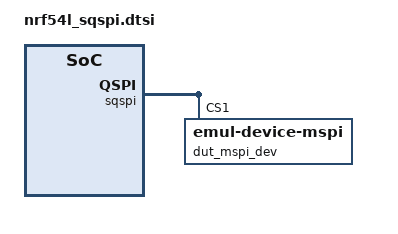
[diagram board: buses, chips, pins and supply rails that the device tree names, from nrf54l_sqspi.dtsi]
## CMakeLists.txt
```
#
# Copyright (c) 2026 Nordic Semiconductor ASA
#
# SPDX-License-Identifier: LicenseRef-Nordic-5-Clause
#

cmake_minimum_required(VERSION 3.20.0)

find_package(Zephyr REQUIRED HINTS $ENV{ZEPHYR_BASE})
project(xspi_performance_mspi_api)

target_sources(app PRIVATE src/main.c)
```

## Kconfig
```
#
# Copyright (c) 2026 Nordic Semiconductor ASA
#
# SPDX-License-Identifier: LicenseRef-Nordic-5-Clause
#

config TEST_BENCHMARK_SCK_DELAY
	bool "Measure SCK delay"
	default y
	select NRFX_GPPI
	select NRFX_GPIOTE
	help
	  Enables tests which measure the delay between triggering the transfer and
	  detecting clock signal on the SCK line. This requires a physical loopback
	  between the MSPI SCK pin and a GPIO input pin used by the tests.

source "Kconfig.zephyr"
```

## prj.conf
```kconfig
CONFIG_ZTEST=y
CONFIG_MSPI=y
# The SCK delay measurement drives its GPIO input directly through nrfx_gpiote,
# bypassing the Zephyr GPIO subsystem, so it is not needed here.
CONFIG_GPIO=n
CONFIG_CPU_LOAD=y
CONFIG_NRFX_TIMER=y
```

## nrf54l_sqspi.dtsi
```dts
/*
 * Copyright (c) 2026 Nordic Semiconductor ASA
 *
 * SPDX-License-Identifier: LicenseRef-Nordic-5-Clause
 */

&pinctrl {
	sqspi_default: sqspi_default {
		group1 {
			psels = <NRF_PSEL(SDP_MSPI_SCK, 2, 1)>,
				<NRF_PSEL(SDP_MSPI_CS0, 2, 5)>,
				<NRF_PSEL(SDP_MSPI_CS1, 2, 6)>,
				<NRF_PSEL(SDP_MSPI_DQ0, 2, 2)>;
			nordic,drive-mode = <NRF_DRIVE_E0E1>;
		};

		group2 {
			psels = <NRF_PSEL(SDP_MSPI_DQ1, 2, 4)>,
				<NRF_PSEL(SDP_MSPI_DQ2, 2, 3)>,
				<NRF_PSEL(SDP_MSPI_DQ3, 2, 0)>;
			nordic,drive-mode = <NRF_DRIVE_E0E1>;
			bias-pull-up;
		};
	};

	sqspi_sleep: sqspi_sleep {
		group1 {
			low-power-enable;
			psels = <NRF_PSEL(SDP_MSPI_SCK, 2, 1)>,
				<NRF_PSEL(SDP_MSPI_CS0, 2, 5)>,
				<NRF_PSEL(SDP_MSPI_CS1, 2, 6)>,
				<NRF_PSEL(SDP_MSPI_DQ0, 2, 2)>,
				<NRF_PSEL(SDP_MSPI_DQ1, 2, 4)>,
				<NRF_PSEL(SDP_MSPI_DQ2, 2, 3)>,
				<NRF_PSEL(SDP_MSPI_DQ3, 2, 0)>;
		};
	};
};

&cpuflpr_vpr {
	pinctrl-0 = <&sqspi_default>;
	pinctrl-1 = <&sqspi_sleep>;
	pinctrl-names = "default", "sleep";
	interrupts = <76 NRF_DEFAULT_IRQ_PRIORITY>;
	status = "okay";
};

/ {
	reserved-memory {
		#address-cells = <1>;
		#size-cells = <1>;
		ranges;

		softperipheral_ram: memory@SP_RAM_UNIT_ADDR {
			reg = <SP_RAM_REG_ADDR 0x4000>;
			ranges = <0 SP_RAM_REG_ADDR 0x4000>;
			#address-cells = <1>;
			#size-cells = <1>;

			sqspi: sqspi@3b40 {
				compatible = "nordic,nrf-sqspi";
				#address-cells = <1>;
				#size-cells = <0>;
				reg = <0x3b40 0x200>;
				status = "okay";
				zephyr,pm-device-runtime-auto;
			};
		};
	};
};

/delete-node/ &mx25r64;

&sqspi {
	dut_mspi_dev: emul_device@1 {
		compatible = "zephyr,emul-device-mspi";
		status = "okay";
		reg = <1>;

		mspi-max-frequency = <DT_FREQ_M(4)>;
		mspi-io-mode = "MSPI_IO_MODE_QUAD_1_4_4";
		mspi-data-rate = "MSPI_DATA_RATE_SINGLE";
		mspi-hardware-ce-num = <1>;
		mspi-cpp-mode = "MSPI_CPP_MODE_0";
		mspi-endian = "MSPI_BIG_ENDIAN";
		mspi-ce-polarity = "MSPI_CE_ACTIVE_LOW";
	};
};
```

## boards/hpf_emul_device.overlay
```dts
/*
 * Copyright (c) 2026 Nordic Semiconductor ASA
 *
 * SPDX-License-Identifier: LicenseRef-Nordic-5-Clause
 */

/delete-node/ &mx25r64;

&hpf_mspi {
	dut_mspi_dev: emul_device@0 {
		compatible = "zephyr,emul-device-mspi";
		status = "okay";
		reg = <0>;

		mspi-max-frequency = <DT_FREQ_M(4)>;
		mspi-io-mode = "MSPI_IO_MODE_QUAD_1_4_4";
		mspi-data-rate = "MSPI_DATA_RATE_SINGLE";
		mspi-hardware-ce-num = <0>;
		mspi-cpp-mode = "MSPI_CPP_MODE_0";
		mspi-endian = "MSPI_BIG_ENDIAN";
		mspi-ce-polarity = "MSPI_CE_ACTIVE_LOW";
	};
};
```

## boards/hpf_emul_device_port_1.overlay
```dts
/*
 * Copyright (c) 2026 Nordic Semiconductor ASA
 *
 * SPDX-License-Identifier: LicenseRef-Nordic-5-Clause
 */

&hpf_mspi {
	dut_mspi_dev: emul_device@0 {
		compatible = "zephyr,emul-device-mspi";
		status = "okay";
		reg = <0>;

		mspi-max-frequency = <DT_FREQ_M(4)>;
		mspi-io-mode = "MSPI_IO_MODE_QUAD_1_4_4";
		mspi-data-rate = "MSPI_DATA_RATE_SINGLE";
		mspi-hardware-ce-num = <0>;
		mspi-cpp-mode = "MSPI_CPP_MODE_0";
		mspi-endian = "MSPI_BIG_ENDIAN";
		mspi-ce-polarity = "MSPI_CE_ACTIVE_LOW";
	};
};
```

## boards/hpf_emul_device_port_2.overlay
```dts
/*
 * Copyright (c) 2026 Nordic Semiconductor ASA
 *
 * SPDX-License-Identifier: LicenseRef-Nordic-5-Clause
 */

/delete-node/ &mx25r64;

&hpf_mspi {
	dut_mspi_dev: emul_device@1 {
		compatible = "zephyr,emul-device-mspi";
		status = "okay";
		reg = <1>;

		mspi-max-frequency = <DT_FREQ_M(4)>;
		mspi-io-mode = "MSPI_IO_MODE_QUAD_1_4_4";
		mspi-data-rate = "MSPI_DATA_RATE_SINGLE";
		mspi-hardware-ce-num = <1>;
		mspi-cpp-mode = "MSPI_CPP_MODE_0";
		mspi-endian = "MSPI_BIG_ENDIAN";
		mspi-ce-polarity = "MSPI_CE_ACTIVE_LOW";
	};
};

&pinctrl {
	hpf_mspi_default: hpf_mspi_default {
		group1 {
			psels = <NRF_PSEL(HPF_MSPI_SCK, 2, 1)>,
				<NRF_PSEL(HPF_MSPI_DQ0, 2, 2)>,
				<NRF_PSEL(HPF_MSPI_DQ1, 2, 4)>,
				<NRF_PSEL(HPF_MSPI_DQ2, 2, 3)>,
				<NRF_PSEL(HPF_MSPI_DQ3, 2, 0)>,
				<NRF_PSEL(HPF_MSPI_CS0, 2, 5)>,
				<NRF_PSEL(HPF_MSPI_CS1, 2, 6)>;
			nordic,drive-mode = <NRF_DRIVE_S0S1>;
			bias-pull-up;
		};
	};

	hpf_mspi_sleep: hpf_mspi_sleep {
		group1 {
			psels = <NRF_PSEL(HPF_MSPI_SCK, 2, 1)>,
				<NRF_PSEL(HPF_MSPI_DQ0, 2, 2)>,
				<NRF_PSEL(HPF_MSPI_DQ1, 2, 4)>,
				<NRF_PSEL(HPF_MSPI_DQ2, 2, 3)>,
				<NRF_PSEL(HPF_MSPI_DQ3, 2, 0)>,
				<NRF_PSEL(HPF_MSPI_CS0, 2, 5)>,
				<NRF_PSEL(HPF_MSPI_CS1, 2, 6)>;
			low-power-enable;
		};
	};
};

&hpf_mspi {
	pinctrl-0 = <&hpf_mspi_default>;
	pinctrl-1 = <&hpf_mspi_sleep>;
};
```

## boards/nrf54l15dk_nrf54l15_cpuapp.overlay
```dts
/*
 * Copyright (c) 2026 Nordic Semiconductor ASA
 *
 * SPDX-License-Identifier: LicenseRef-Nordic-5-Clause
 */

/* The test requires a loopback between P1.12 and P2.01. Additionally SB18 needs to be shorted. */

/ {
	zephyr,user {
		test-gpios = <&gpio1 12 0>;
	};

	aliases {
		test-timer = &timer21;
	};
};

&timer21 {
	status = "reserved";
};
```

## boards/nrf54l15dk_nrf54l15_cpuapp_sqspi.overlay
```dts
/*
 * Copyright (c) 2026 Nordic Semiconductor ASA
 *
 * SPDX-License-Identifier: LicenseRef-Nordic-5-Clause
 */

#define SP_RAM_REG_ADDR 0x2003c000
#define SP_RAM_UNIT_ADDR 2003c000

#include "../nrf54l_sqspi.dtsi"

/* The test requires a loopback between P1.12 and P2.01. Additionally SB18 needs to be shorted. */

/ {
	zephyr,user {
		test-gpios = <&gpio1 12 0>;
	};

	aliases {
		test-timer = &timer21;
	};
};

&timer21 {
	status = "reserved";
};
```

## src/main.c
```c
/*
 * Copyright (c) 2026 Nordic Semiconductor ASA
 *
 * SPDX-License-Identifier: LicenseRef-Nordic-5-Clause
 */

#include <zephyr/kernel.h>
#include <zephyr/device.h>
#include <zephyr/drivers/mspi.h>
#include <zephyr/ztest.h>
#include <zephyr/sys/cpu_load.h>
#include <zephyr/irq.h>
#include <nrfx_timer.h>

#if IS_ENABLED(CONFIG_TEST_BENCHMARK_SCK_DELAY)
#include <helpers/nrfx_gppi.h>
#include <gpiote_nrfx.h>
#include <nrfx_gpiote.h>
#endif

#define MSPI_DEV_NODE DT_NODELABEL(dut_mspi_dev)
#define MSPI_BUS_NODE DT_BUS(MSPI_DEV_NODE)

#define MSPI_FREQ_HZ DT_PROP(MSPI_DEV_NODE, mspi_max_frequency)

static struct mspi_dev_cfg mspi_device_cfg = MSPI_DEVICE_CONFIG_DT(MSPI_DEV_NODE);
static const struct mspi_dev_id mspi_device_id = MSPI_DEVICE_ID_DT(MSPI_DEV_NODE);

static const struct device *mspi_bus = DEVICE_DT_GET(MSPI_BUS_NODE);

#define TEST_TIMER_NODE DT_ALIAS(test_timer)
#define TEST_TIMER_FREQUENCY MHZ(16)

#define TEST_MAX_PACKET_COUNT 5
#define TEST_MAX_PACKET_SIZE 1024
#define TEST_MEASUREMENT_COUNT 10
#define TEST_XFER_DELAY_MS 10
#define TEST_XFER_TIMEOUT_MS 100

/* Max accepted SCK delay value used in the test (microseconds). */
#define TEST_ALLOWED_SCK_DELAY_US 100U

/*
 * Factor used to calculate the maximum duration of an MSPI transfer
 * based on the time required to physically transmit the data on the bus.
 *
 * This isn't an ideal method - relative overhead is much greater in short transfers.
 */
#define TEST_ALLOWED_XFER_TIME_FACTOR 6

static nrfx_timer_t timer = NRFX_TIMER_INSTANCE(DT_REG_ADDR(TEST_TIMER_NODE));

#if IS_ENABLED(CONFIG_TEST_BENCHMARK_SCK_DELAY)
#define TEST_GPIO_PIN NRF_DT_GPIOS_TO_PSEL(DT_PATH(zephyr_user), test_gpios)
#define TEST_GPIOTE_INST NRF_DT_GPIOTE_INST(DT_PATH(zephyr_user), test_gpios)
#define TEST_GPIOTE_NODE DT_NODELABEL(CONCAT(gpiote, TEST_GPIOTE_INST))

static nrfx_gpiote_t *gpiote = &GPIOTE_NRFX_INST_BY_NODE(TEST_GPIOTE_NODE);
#endif

static const int test_packet_sizes[] = { 64, 256, 1024 };

static uint8_t data_buf[TEST_MAX_PACKET_SIZE * TEST_MAX_PACKET_COUNT];
static struct mspi_xfer_packet packets[TEST_MAX_PACKET_COUNT];

/*
 * Set the direction and size on every packet in the shared "packets" array and
 * fill the shared data buffer with a fixed pattern. The remaining packet
 * fields (cmd, address, cb_mask, data_buf) are configured once in setup() and
 * are left untouched here, since they are the same for every test case.
 */
static void prepare_packets(enum mspi_xfer_direction dir, uint32_t packet_size)
{
	zassert_true((packet_size > 0) && (packet_size <= TEST_MAX_PACKET_SIZE),
		     "Invalid packet size: %u", packet_size);

	for (size_t i = 0; i < ARRAY_SIZE(packets); i++) {
		packets[i].dir = dir;
		packets[i].num_bytes = packet_size;
	}

	/* Fill the buffer with dummy data for TX transfer. */
	if (dir == MSPI_TX) {
		for (size_t i = 0; i < ARRAY_SIZE(data_buf); i++) {
			data_buf[i] = (uint8_t)i;
		}
	}
}

static void *setup(void)
{
	int ret;

	/* Configure MSPI */
	zassert_true(device_is_ready(mspi_bus), "MSPI bus is not ready");

	ret = mspi_dev_config(mspi_bus, &mspi_device_id, MSPI_DEVICE_CONFIG_ALL, &mspi_device_cfg);
	zassert_equal(ret, 0, "mspi_dev_config failed: %d", ret);

	/* Connect TIMER instance IRQ to irq handler */
	IRQ_CONNECT(DT_IRQN(TEST_TIMER_NODE), DT_IRQ(TEST_TIMER_NODE, priority),
		    nrfx_timer_irq_handler, &timer, 0);

#if IS_ENABLED(CONFIG_TEST_BENCHMARK_SCK_DELAY)
	/* Connect GPIOTE instance IRQ to irq handler */
	IRQ_CONNECT(DT_IRQN(TEST_GPIOTE_NODE), DT_IRQ(TEST_GPIOTE_NODE, priority),
		    nrfx_gpiote_irq_handler, &GPIOTE_NRFX_INST_BY_NODE(TEST_GPIOTE_NODE), 0);
#endif
	/*
	 * Packet template shared by every test case, .dir and .num_bytes
	 * are set later by prepare_packets() inside each test. .cmd and
	 * .address are arbitrary fixed values - the benchmark needs a non-zero
	 * command/address phase (see .addr_length in the xfer configs below).
	 */
	struct mspi_xfer_packet packet = {
		.cb_mask = MSPI_BUS_NO_CB,
		.cmd = 0x55,
		.address = 0xAA,
	};

	for (size_t i = 0; i < ARRAY_SIZE(packets); i++) {
		packet.data_buf = data_buf + i * TEST_MAX_PACKET_SIZE;
		packets[i] = packet;
	}
	return NULL;
}

#if IS_ENABLED(CONFIG_TEST_BENCHMARK_SCK_DELAY)
/*
 * Measure the delay between issuing mspi_transceive() and the
 * first clock edge actually appearing on the bus, i.e. the software/driver
 * call overhead that precedes the on-wire transfer.
 *
 * This requires the MSPI clock line to be jumpered externally to the GPIO configured
 * via "test-gpios". A GPIOTE input on that pin detects the rising edge and
 * triggers a hardware timer capture.
 */
static uint32_t measure_sck_delay_us(struct mspi_xfer *xfer)
{
	uint8_t gpiote_channel;
	nrfx_gppi_handle_t ppi_handle;
	int ret = nrfx_gpiote_init(gpiote, 0);

	zassert_equal(ret, 0, "nrfx_gpiote_init: %d", ret);

	ret = nrfx_gpiote_channel_alloc(gpiote, &gpiote_channel);
	zassert_equal(ret, 0, "nrfx_gpiote_channel_alloc: %d", ret);

	nrf_gpio_pin_pull_t pull_config = NRF_GPIO_PIN_NOPULL;

	nrfx_gpiote_trigger_config_t trigger_config = {
		.trigger = NRFX_GPIOTE_TRIGGER_LOTOHI,
		.p_in_channel = &gpiote_channel,
	};

	nrfx_gpiote_handler_config_t handler_config = {
		.handler = NULL,
	};

	nrfx_gpiote_input_pin_config_t input_config = {
		.p_pull_config = &pull_config,
		.p_trigger_config = &trigger_config,
		.p_handler_config = &handler_config
	};

	ret = nrfx_gpiote_input_configure(gpiote, TEST_GPIO_PIN, &input_config);
	zassert_equal(ret, 0, "nrfx_gpiote_input_configure failed: %d", ret);

	nrfx_timer_config_t timer_config = NRFX_TIMER_DEFAULT_CONFIG(TEST_TIMER_FREQUENCY);

	timer_config.bit_width = NRF_TIMER_BIT_WIDTH_32;

	ret = nrfx_timer_init(&timer, &timer_config, NULL);
	zassert_equal(ret, 0, "nrfx_timer_init failed: %d", ret);

	ret = nrfx_gppi_conn_alloc(nrfx_gpiote_in_event_address_get(gpiote, TEST_GPIO_PIN),
				   nrfx_timer_task_address_get(&timer, NRF_TIMER_TASK_CAPTURE0),
				   &ppi_handle);
	zassert_equal(ret, 0, "nrfx_gppi_conn_alloc failed: %d", ret);

	/* Stop the timer on the same edge so it does not keep running past the first capture. */
	nrfx_gppi_ep_attach(nrfx_timer_task_address_get(&timer, NRF_TIMER_TASK_STOP), ppi_handle);
	nrfx_gppi_conn_enable(ppi_handle);
	nrfx_gpiote_trigger_enable(gpiote, TEST_GPIO_PIN, false);

	uint32_t total_ticks = 0;
	uint32_t ticks = 0;
	int xfer_ret = 0;

	for (int i = 0; i < TEST_MEASUREMENT_COUNT; i++) {
		nrfx_timer_clear(&timer);
		/* Zero CC0 register to be able to know when an edge was not detected */
		nrfx_timer_capture(&timer, NRF_TIMER_CC_CHANNEL0);
		nrfx_timer_enable(&timer);

		xfer_ret = mspi_transceive(mspi_bus, &mspi_device_id, xfer);

		/*
		 * Read the value of CC register which was latched on the first rising edge
		 * of the clock signal.
		 */
		ticks = nrfx_timer_capture_get(&timer, NRF_TIMER_CC_CHANNEL0);

		nrfx_timer_disable(&timer);

		if (xfer_ret != 0 || ticks == 0) {
			/* Stop early, the failure is asserted after cleanup. */
			break;
		}

		total_ticks += ticks;

		k_msleep(TEST_XFER_DELAY_MS);
	}
	nrfx_gppi_conn_disable(ppi_handle);
	nrfx_gppi_ep_clear(nrfx_gpiote_in_event_address_get(gpiote, TEST_GPIO_PIN));
	nrfx_gppi_ep_clear(nrfx_timer_task_address_get(&timer, NRF_TIMER_TASK_CAPTURE0));
	nrfx_gppi_ep_clear(nrfx_timer_task_address_get(&timer, NRF_TIMER_TASK_STOP));
	nrfx_gppi_domain_conn_free(ppi_handle);

	nrfx_gpiote_channel_free(gpiote, gpiote_channel);
	nrfx_gpiote_uninit(gpiote);
	nrfx_timer_uninit(&timer);

	zassert_equal(xfer_ret, 0, "mspi_transceive failed: %d", xfer_ret);
	zassert_true(ticks > 0, "No SCK edge was detected, loopback not connected?");

	/*
	 * Convert the summed ticks (clocked at TEST_TIMER_FREQUENCY)
	 * into an average delay in microseconds.
	 */
	uint32_t avg_sck_delay_us = (uint64_t)total_ticks * (uint64_t)MHZ(1) /
				    (uint64_t)(TEST_MEASUREMENT_COUNT * TEST_TIMER_FREQUENCY);

	return avg_sck_delay_us;
}

/*
 * For a fixed packet size, sweep the packet count from 1 to
 * TEST_MAX_PACKET_COUNT and print the average SCK delay measured for each,
 * so the effect of batching more packets into one transfer can be seen.
 */
static void run_sck_delay_sweep(enum mspi_xfer_direction dir, uint32_t packet_size)
{
	prepare_packets(dir, packet_size);

	struct mspi_xfer xfer = {
		.async = false,
		.xfer_mode = MSPI_PIO,
		.tx_dummy = 0,
		.rx_dummy = 0,
		.cmd_length = 0,
		/*
		 * sQSPI requires a non-zero command/address phase to start clocking an
		 * RX-only transfer; apply it to TX as well so both directions carry the
		 * same fixed overhead.
		 */
		.addr_length = 1,
		.hold_ce = false,
		/* Only one xfer is ever in flight in this benchmark; the value is arbitrary. */
		.priority = 1,
		.packets = packets,
		.timeout = TEST_XFER_TIMEOUT_MS,
	};

	TC_PRINT(" Packets | Total Size [B] | Delay [us]\n");
	for (uint32_t i = 1; i <= TEST_MAX_PACKET_COUNT; i++) {
		xfer.num_packet = i;

		uint32_t sck_delay_us = measure_sck_delay_us(&xfer);

		TC_PRINT(" %7u | %14u | %10u\n", i, i * packet_size, sck_delay_us);

		zexpect_true(sck_delay_us <= TEST_ALLOWED_SCK_DELAY_US,
			     "SCK delay was %u us, expected at most %u us",
			     sck_delay_us, TEST_ALLOWED_SCK_DELAY_US);
	}
}

/*
 * Measure the SCK delay - the software/driver overhead between calling
 * mspi_transceive() and the first clock edge appearing on the bus - for TX
 * transfers, across the range of packet sizes and packet counts defined
 * above.
 */
ZTEST(xspi_performance_mspi_api, test_sck_delay_tx)
{
	for (int i = 0; i < ARRAY_SIZE(test_packet_sizes); i++) {
		TC_PRINT("Packet size: %d B\n", test_packet_sizes[i]);
		run_sck_delay_sweep(MSPI_TX, test_packet_sizes[i]);
	}
}

/* Same as test_sck_delay_tx, but for RX transfers. */
ZTEST(xspi_performance_mspi_api, test_sck_delay_rx)
{
	for (int i = 0; i < ARRAY_SIZE(test_packet_sizes); i++) {
		TC_PRINT("Packet size: %d B\n", test_packet_sizes[i]);
		run_sck_delay_sweep(MSPI_RX, test_packet_sizes[i]);
	}
}
#endif /* IS_ENABLED(CONFIG_TEST_BENCHMARK_SCK_DELAY) */

/*
 * Measure the total duration of a synchronous mspi_transceive()
 * and the average CPU load while it was in progress.
 */
static void measure_total_xfer_time_us_cpu_load(struct mspi_xfer *xfer,
						uint32_t *out_time,
						int *out_cpu_load)
{
	int ret;
	nrfx_timer_config_t timer_config = NRFX_TIMER_DEFAULT_CONFIG(TEST_TIMER_FREQUENCY);

	timer_config.bit_width = NRF_TIMER_BIT_WIDTH_32;

	ret = nrfx_timer_init(&timer, &timer_config, NULL);
	zassert_equal(ret, 0, "nrfx_timer_init failed: %d", ret);

	uint32_t total_ticks = 0;
	int total_load = 0;
	int xfer_ret = 0;

	for (int i = 0; i < TEST_MEASUREMENT_COUNT; i++) {
		nrfx_timer_clear(&timer);

		/* Reset the CPU load accounting so the next read reflects only this transfer. */
		(void)cpu_load_get(true);
		nrfx_timer_enable(&timer);

		xfer_ret = mspi_transceive(mspi_bus, &mspi_device_id, xfer);

		/* Read the elapsed time and the CPU load right after the call returns. */
		uint32_t ticks = nrfx_timer_capture(&timer, NRF_TIMER_CC_CHANNEL0);
		int load = cpu_load_get(false);

		nrfx_timer_disable(&timer);

		if (xfer_ret != 0) {
			/* Stop early, the failure is asserted after cleanup. */
			break;
		}

		total_ticks += ticks;
		total_load += load;

		k_msleep(TEST_XFER_DELAY_MS);
	}
	nrfx_timer_uninit(&timer);

	zassert_equal(xfer_ret, 0, "mspi_transceive failed: %d", xfer_ret);

	/*
	 * Convert the summed ticks (clocked at TEST_TIMER_FREQUENCY)
	 * into an average time in microseconds.
	 */
	*out_time = (uint64_t)total_ticks * (uint64_t)MHZ(1) /
		    (uint64_t)(TEST_MEASUREMENT_COUNT * TEST_TIMER_FREQUENCY);

	*out_cpu_load = total_load / TEST_MEASUREMENT_COUNT;
}

/*
 * For a fixed packet size, sweep the packet count from 1 to
 * TEST_MAX_PACKET_COUNT and print the average total transfer time and CPU
 * load measured for each.
 */
static void run_total_time_sweep(enum mspi_xfer_direction dir, uint32_t packet_size)
{
	prepare_packets(dir, packet_size);

	struct mspi_xfer xfer = {
		.async = false,
		.xfer_mode = MSPI_PIO,
		.tx_dummy = 0,
		.rx_dummy = 0,
		.cmd_length = 0,
		.addr_length = 1,
		.hold_ce = false,
		/* Only one xfer is ever in flight in this benchmark; the value is arbitrary. */
		.priority = 1,
		.packets = packets,
		.timeout = TEST_XFER_TIMEOUT_MS,
	};

	TC_PRINT(" Packets | Total Size [B] | Time [us] | CPU Load [1/1000]\n");
	for (uint32_t i = 1; i <= TEST_MAX_PACKET_COUNT; i++) {
		xfer.num_packet = i;

		uint32_t xfer_time_us;
		int cpu_load;

		measure_total_xfer_time_us_cpu_load(&xfer, &xfer_time_us, &cpu_load);

		TC_PRINT(" %7u | %14u | %9u | %17u\n", i, i * packet_size, xfer_time_us, cpu_load);

		/* In 4-lane SPI every byte needs 2 clock cycles, hence the 2 in formula below */
		uint32_t bus_xfer_time_us = (i * packet_size + xfer.addr_length) * 2 /
					    (MSPI_FREQ_HZ / MHZ(1));
		uint32_t allowed_xfer_time_us = TEST_ALLOWED_XFER_TIME_FACTOR * bus_xfer_time_us;

		zexpect_true(xfer_time_us <= allowed_xfer_time_us,
			     "Transfer took %u us, expected at most %u us",
			     xfer_time_us, allowed_xfer_time_us);
	}
}

/*
 * Measure the total duration of the synchronous mspi_transceive() call and
 * the average CPU load while it runs, for TX transfers.
 */
ZTEST(xspi_performance_mspi_api, test_total_time_tx)
{
	for (int i = 0; i < ARRAY_SIZE(test_packet_sizes); i++) {
		TC_PRINT("Packet size: %d B\n", test_packet_sizes[i]);
		run_total_time_sweep(MSPI_TX, test_packet_sizes[i]);
	}
}

/* Same as test_total_time_tx, but for RX transfers. */
ZTEST(xspi_performance_mspi_api, test_total_time_rx)
{
	for (int i = 0; i < ARRAY_SIZE(test_packet_sizes); i++) {
		TC_PRINT("Packet size: %d B\n", test_packet_sizes[i]);
		run_total_time_sweep(MSPI_RX, test_packet_sizes[i]);
	}
}

ZTEST_SUITE(xspi_performance_mspi_api, NULL, setup, NULL, NULL, NULL);
```
